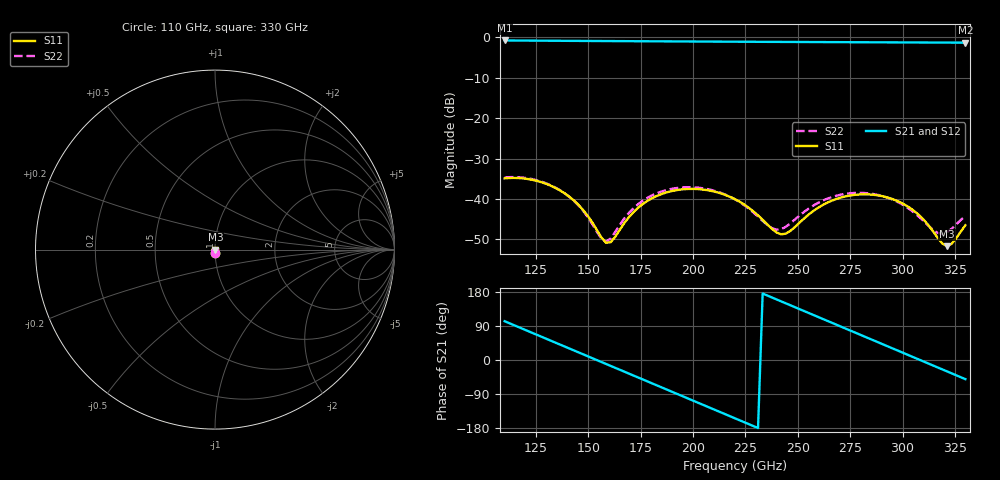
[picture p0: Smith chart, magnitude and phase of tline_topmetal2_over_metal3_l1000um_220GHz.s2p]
#  GHZ S DB R 50
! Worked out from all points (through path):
!   101 points, 110 GHz to 330 GHz, reference 50 ohm
!   highest |S21| = -0.82 dB at 110 GHz (marker M1); lowest = -1.4 dB at 330 GHz (marker M2)
!   group delay of S21, straight-line fit = 6.48 ps
!   lowest |S11| = -51.7 dB at 321.2 GHz (marker M3), VSWR 1.01, Z = 50.3 + j0.0307 ohm
!   |S11| at or under -10 dB: start of sweep to end of sweep
!   |S22| runs from -50.5 to -34.6 dB; largest |S21 - S12| = 1e-13
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110  -34.90 -88.9  -0.82 102.4  -0.82 102.4  -34.68 -88.6
118.8  -34.90 -113.7  -0.85 81.9  -0.85 81.9  -34.71 -113.3
127.6  -35.84 -139.1  -0.87 61.4  -0.87 61.4  -35.71 -138.7
138.6  -38.57 -173.2  -0.91 35.7  -0.91 35.7  -38.56 -172.9
147.4  -42.65 153.9  -0.93 15.2  -0.93 15.2  -42.86 153.3
156.2  -49.48 94.5  -0.96 -5.2  -0.96 -5.2  -49.78 87.1
160.6  -50.70 36.4  -0.97 -15.5  -0.97 -15.5  -49.78 27.9
171.6  -43.19 -46.7  -1.00 -41.1  -1.00 -41.1  -42.24 -46.5
184.8  -38.79 -94.3  -1.04 -71.9  -1.04 -71.9  -38.16 -92.8
193.6  -37.68 -122.0  -1.06 -92.4  -1.06 -92.4  -37.19 -120.2
202.4  -37.55 -149.2  -1.08 -112.9  -1.08 -112.9  -37.20 -147.4
220  -40.04 153.4  -1.13 -153.9  -1.13 -153.9  -40.08 153.9
231  -44.05 107.8  -1.15 -179.5  -1.15 -179.5  -44.35 103.9
242  -48.71 26.3  -1.18 154.8  -1.18 154.8  -47.46 15.9
257.4  -42.95 -80.8  -1.21 118.9  -1.21 118.9  -41.61 -78.1
275  -39.12 -143.8  -1.25 77.8  -1.25 77.8  -38.57 -140.3
283.8  -38.86 -171.4  -1.27 57.3  -1.27 57.3  -38.60 -168.8
294.8  -39.94 154.2  -1.29 31.6  -1.29 31.6  -40.05 154.5
308  -44.04 107.3  -1.32 0.8  -1.32 0.8  -44.46 99.8
316.8  -49.60 55.6  -1.34 -19.7  -1.34 -19.7  -48.39 35.9
321.2  -51.65 6.7  -1.34 -30.0  -1.34 -30.0  -48.22 -6.7
330  -46.48 -74.4  -1.36 -50.5  -1.36 -50.5  -44.11 -68.0
